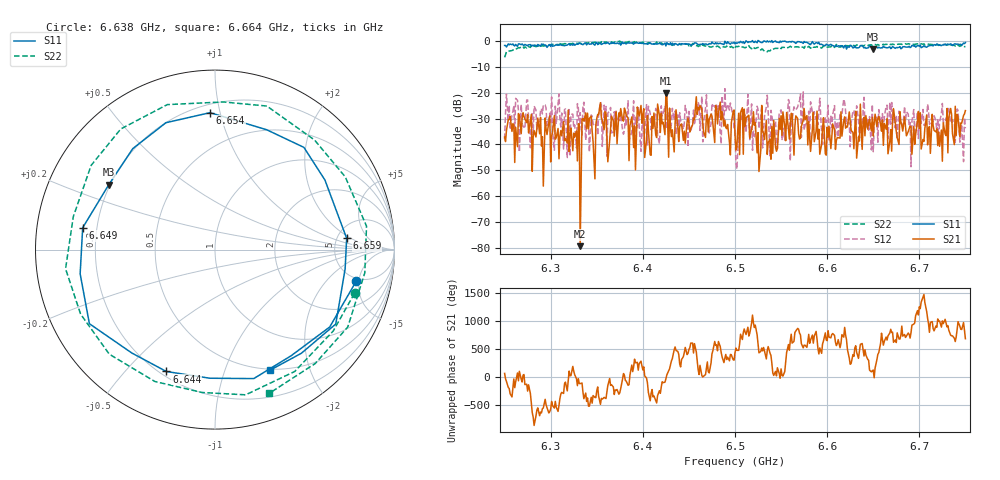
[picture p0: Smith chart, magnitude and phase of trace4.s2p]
# Hz S RI R 50
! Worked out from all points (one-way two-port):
!   401 points, 6.25 GHz to 6.75 GHz, reference 50 ohm
!   highest |S21| = -20.26 dB at 6.425 GHz (marker M1); lowest = -79.3 dB at 6.332 GHz (marker M2)
!   lowest |S11| = -3.2 dB at 6.65 GHz (marker M3), VSWR 5.53, Z = 9.74 + j13.5 ohm
!   |S11| at or under -10 dB: nowhere
!   |S22| runs from -6.4 to -0.1 dB; largest |S21 - S12| = 0.13
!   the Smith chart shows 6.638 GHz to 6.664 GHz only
!   S11 on the Smith chart (normalised r, x): 6.638 GHz: 4.56, -4.60; 6.644 GHz: 0.22, -0.65; 6.649 GHz: 0.15, +0.08; 6.654 GHz: 0.25, +0.93; 6.659 GHz: 6.11, +1.68; 6.664 GHz: 0.49, -1.45
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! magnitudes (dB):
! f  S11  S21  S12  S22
! 6.25 GHz  -1.8  -37.1  -37.9  -6.4
! 6.272 GHz  -1.4  -30.2  -33.9  -2.3
! 6.332 GHz  -1.1  -79.3  -27.7  -0.9
! 6.334 GHz  -1.3  -30.2  -36.4  -1.1
! 6.336 GHz  -1.2  -31.0  -23.7  -1.0
! 6.348 GHz  -1.7  -53.3  -32.9  -0.5
! 6.352 GHz  -1.2  -28.6  -28.3  -0.7
! 6.364 GHz  -1.3  -38.5  -27.0  -0.6
! 6.418 GHz  -1.0  -28.9  -39.7  -0.7
! 6.425 GHz  -2.0  -20.3  -34.1  -1.5
! 6.491 GHz  -1.1  -33.9  -26.0  -2.0
! 6.5 GHz  -1.1  -35.9  -34.7  -2.6
! 6.584 GHz  -0.3  -33.9  -27.6  -2.1
! 6.638 GHz  -1.9  -41.9  -40.7  -1.8
! 6.644 GHz  -2.7  -34.1  -30.3  -1.9
! 6.649 GHz  -2.5  -29.6  -24.6  -1.8
! 6.65 GHz  -3.2  -36.8  -42.8  -1.6
! 6.654 GHz  -2.3  -33.2  -29.4  -1.7
! 6.659 GHz  -2.7  -34.9  -30.6  -1.4
! 6.664 GHz  -2.6  -34.1  -25.2  -1.3
! 6.668 GHz  -2.3  -38.8  -23.7  -1.5
! 6.75 GHz  -0.7  -26.9  -33.8  -2.2
